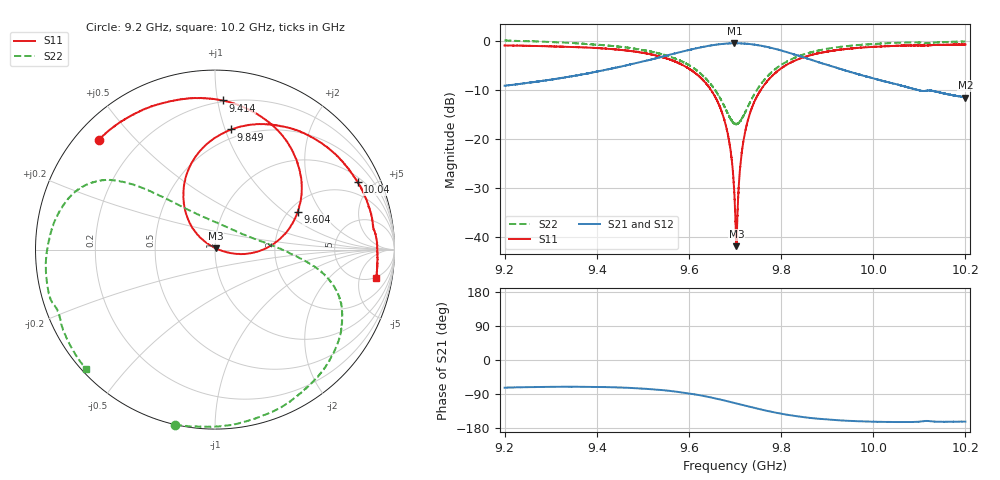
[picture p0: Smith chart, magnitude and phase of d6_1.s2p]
!Agilent Technologies,N5242A,MY51221714,A.09.90.19
!Agilent N5242A: A.09.90.19
!Date: Tuesday, March 26, 2024 16:17:59
!Correction: S11(Full 2 Port(1,2))
!S21(Full 2 Port(1,2))
!S12(Full 2 Port(1,2))
!S22(Full 2 Port(1,2))
!S2P File: Measurements: S11, S21, S12, S22:
# Hz S  dB  R 50
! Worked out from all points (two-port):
!   16001 points, 9.2 GHz to 10.2 GHz, reference 50 ohm
!   highest |S21| = -0.54 dB at 9.699 GHz (marker M1); lowest = -11.6 dB at 10.2 GHz (marker M2)
!   |S21| within 3 dB of the highest: 9.532 GHz to 9.853 GHz (321.4 MHz wide, 3.32 % of centre); 9.853226 GHz to 9.853297 GHz (71.02 kHz wide, 0.000721 % of centre)
!   lowest |S11| = -41.8 dB at 9.703 GHz (marker M3), VSWR 1.02, Z = 50.3 + j0.739 ohm
!   |S11| at or under -10 dB: 9.647484 GHz to 9.647526 GHz (42.37 kHz wide, 0.000439 % of centre); 9.648 GHz to 9.756 GHz (108.7 MHz wide, 1.12 % of centre)
!   |S22| runs from -17.0 to 0.0 dB; largest |S21 - S12| = 0.012
!   S11 on the Smith chart (normalised r, x): 9.2 GHz: 0.07, +0.40; 9.414 GHz: 0.19, +1.03; 9.604 GHz: 2.22, +1.25; 9.849 GHz: 0.43, +1.05; 10.04 GHz: 1.24, +4.10; 10.2 GHz: 5, -9
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9.2e9  -1.01 136.5  -9.18 -73.1  -9.16 -73.7  0.01 -102.9
9.278562e9  -1.14 119.4  -8.24 -71.2  -8.24 -71.9  -0.20 -81.5
9.366688e9  -1.37 99.0  -6.93 -70.7  -6.91 -71.4  -0.64 -58.6
9.4135e9  -1.59 87.0  -6.06 -71.4  -6.06 -72.1  -0.94 -47.0
9.533375e9  -3.17 51.2  -3.50 -78.5  -3.49 -79.0  -2.56 -21.0
9.6035e9  -5.93 24.5  -1.85 -88.8  -1.85 -89.4  -5.19 -9.0
9.644875e9  -9.64 5.7  -1.04 -98.1  -1.05 -98.6  -8.59 0.2
9.672625e9  -14.86 -7.6  -0.69 -105.7  -0.69 -106.1  -12.62 14.1
9.689688e9  -21.89 -12.3  -0.57 -110.7  -0.56 -111.2  -15.82 37.0
9.698812e9  -31.41 -2.6  -0.54 -113.4  -0.54 -113.9  -16.88 57.2
9.7e9  -34.14 -0.5  -0.55 -113.8  -0.55 -114.3  -16.90 59.7
9.703e9  -41.81 64.7  -0.55 -114.7  -0.54 -115.2  -17.01 67.2
9.717875e9  -20.67 141.0  -0.60 -119.3  -0.58 -119.8  -15.37 100.7
9.7405e9  -12.77 131.4  -0.81 -126.0  -0.80 -126.7  -11.15 125.1
9.784125e9  -6.86 110.0  -1.61 -137.9  -1.61 -138.6  -6.06 138.4
9.848688e9  -3.41 82.3  -3.40 -150.7  -3.41 -151.2  -2.84 147.5
9.866688e9  -2.91 75.6  -3.94 -153.3  -3.96 -153.8  -2.35 150.1
9.934562e9  -1.78 53.1  -5.94 -159.8  -5.94 -160.4  -1.22 161.6
1.003338e10  -1.15 26.6  -8.51 -163.4  -8.50 -164.0  -0.54 -177.8
1.003862e10  -1.12 25.3  -8.63 -163.5  -8.62 -164.1  -0.50 -176.7
1.019994e10  -0.79 -10.0  -11.58 -162.4  -11.59 -163.0  -0.19 -137.1
1.02e10  -0.79 -10.1  -11.57 -162.4  -11.59 -163.1  -0.19 -137.1
